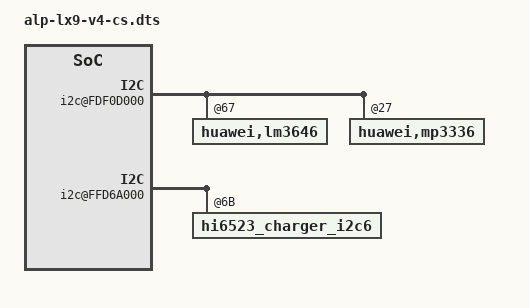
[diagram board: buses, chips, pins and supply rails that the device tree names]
/dts-v1/;

/include/ "../variants/alp-lx9.dtsi"

/ {
	hisi,boardid = <0x06 0x04 0x01 0x03>;
	hisi,boardname = "ALPS_LX9_V4_CS";
	hisi,modem_id = "9", ",";
	hisi,product_id = "9", ",";

	huawei,lcd_panel {
		product_id = <0x3e9>;
	};

	amba {
		i2c@FDF0D000 {
			huawei,lm3646@67 {
				huawei,led-type = <0x00>;
				huawei,flash-current = <0x00 0x0f 0x00>;
			};

			huawei,mp3336@27 {
				huawei,led-type = <0x00>;
				huawei,flash-current = <0x00 0x12 0x00>;
			};
		};

		i2c@FFD6A000 {
			hi6523_charger_i2c6@6B {
				fcp_support = <0x01>;
				scp_support = <0x01>;
			};

			fsa9685_i2c6@25 {
				status = "disabled";
			};
		};
	};

	hisi_usb@ff200000 {
		set_hi_impedance = <0x00>;
	};

	sensorhub {
		light {
			als1 {
				als_phone_version = <0x66>;
			};

			als2 {
				als_phone_version = <0x66>;
			};
		};

		gsensor {
			acc1 {
				negate_z = <0x01>;
			};

			acc2 {
				negate_x = <0x00>;
				negate_y = <0x01>;
				negate_z = <0x01>;
			};
		};

		gyroscope {
			gyro1 {
				axis_map_x = <0x00>;
				axis_map_y = <0x01>;
				negate_z = <0x01>;
				position = <0x05>;
			};

			gyro2 {
				position = <0x05>;
				axis_map_x = <0x00>;
				axis_map_y = <0x01>;
				axis_map_z = <0x02>;
				negate_x = <0x00>;
				negate_y = <0x01>;
				negate_z = <0x01>;
			};
		};
	};

	direct_charger {
		scp_work_on_charger = <0x01>;
	};

	devcheck {
		usb_switch = <0x00>;
	};
};
